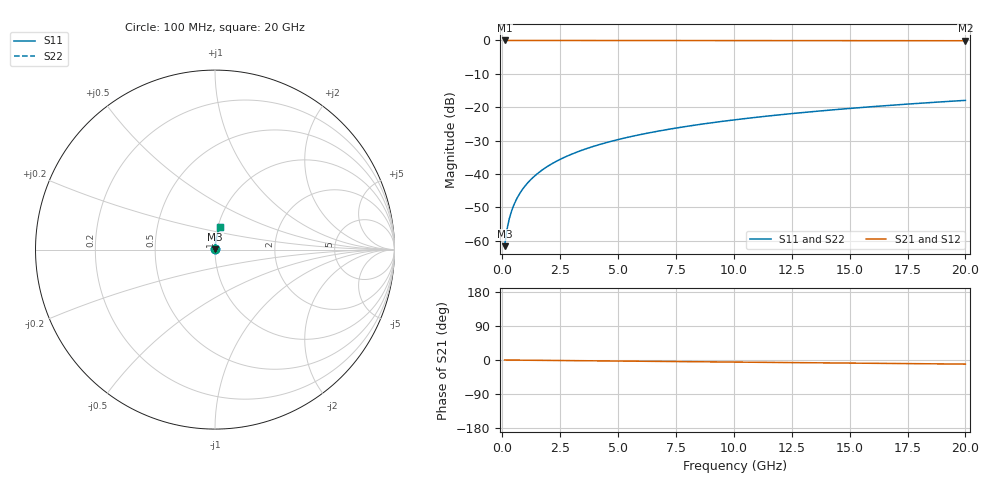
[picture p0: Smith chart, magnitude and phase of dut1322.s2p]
! Touchstone file exported from HFSS 2026.1.0
!  File:  C:/ffzhzh/LocalFiles/Ansys_Project_Files/temp_train_BSMRDL_1322_1783178532_43440.aedt
!  Generated:  11:23:20 PM Jul  4, 2026
!  Design:  BSMRDL
!  Project:  temp_train_BSMRDL_1322_1783178532_43440
! Variables:
!  h_bsmrdl = 5.57um
!  h_ox = 20um
!  h_rdl = 5um
!  h_sub = 80um
!  h_tmrdl = 5um
!  h_tsv = 80um
!  h_via = 3um
!  l_bsmrdl = 102.15um
!  l_sub = 502.15um
!  l_tmrdl = 200um
!  m_sub = 200um
!  pitch = 59.36um
!  r_tsv = 6um
!  s_tmrdl = 10um
!  w_bsmrdl = 21.05um
!  w_sub = 500um
!  w_tmrdl = 12um
!  x_tsv_center1 = 206um
!  x_tsv_center2 = 329.2um
!  x_tsv_center3 = 541.2um
!  x_tsv_center4 = 664.4um
!  x_tsv_center5 = 876.4um
!  x_tsv_center6 = 999.6um
# GHz S MA R 50.000000
! Terminal data exported
! Port[1] = BSM_RDL1_1_T1
! Port[2] = BSM_RDL1_1_T2
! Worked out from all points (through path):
!   200 points, 100 MHz to 20 GHz, reference 50 ohm
!   highest |S21| = 0.00 dB at 100 MHz (marker M1); lowest = -0.1 dB at 20 GHz (marker M2)
!   group delay of S21, straight-line fit = 1.5 ps
!   lowest |S11| = -61.7 dB at 100 MHz (marker M3), VSWR 1.00, Z = 50 + j0.0698 ohm
!   |S11| at or under -10 dB: start of sweep to end of sweep
!   |S22| runs from -61.7 to -18.0 dB; largest |S21 - S12| = 3.1e-15
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0.1  0.0008262 57.5  0.9996 -0.1  0.9996 -0.1  0.0008262 57.5
! Gamma 0 0 0 0
! Port Impedance 50 0 50 0
0.2  0.00146 71.3  0.9995 -0.1  0.9995 -0.1  0.00146 71.3
0.3  0.002117 76.5  0.9995 -0.2  0.9995 -0.2  0.002117 76.5
0.4  0.002774 79.1  0.9995 -0.2  0.9995 -0.2  0.002774 79.1
0.5  0.003429 80.8  0.9995 -0.3  0.9995 -0.3  0.003429 80.8
0.7  0.004738 82.8  0.9994 -0.4  0.9994 -0.4  0.004738 82.8
0.8  0.005393 83.4  0.9994 -0.4  0.9994 -0.4  0.005393 83.4
1  0.006704 84.3  0.9994 -0.6  0.9994 -0.6  0.006704 84.3
1.2  0.008017 84.9  0.9993 -0.7  0.9993 -0.7  0.008017 84.9
1.4  0.009331 85.3  0.9993 -0.8  0.9993 -0.8  0.009331 85.3
1.7  0.0113 85.6  0.9992 -0.9  0.9992 -0.9  0.0113 85.6
2  0.01327 85.8  0.9992 -1.1  0.9992 -1.1  0.01327 85.8
2.7  0.01784 85.9  0.999 -1.5  0.999 -1.5  0.01784 85.9
3.5  0.02304 85.7  0.9988 -1.9  0.9988 -1.9  0.02304 85.7
4.2  0.02756 85.5  0.9986 -2.3  0.9986 -2.3  0.02756 85.5
5  0.03271 85.2  0.9983 -2.8  0.9983 -2.8  0.03271 85.2
6.8  0.04419 84.4  0.9976 -3.7  0.9976 -3.7  0.04419 84.4
8.3  0.0537 83.8  0.997 -4.6  0.997 -4.6  0.0537 83.8
10.1  0.06507 82.9  0.9961 -5.5  0.9961 -5.5  0.06507 82.9
13.4  0.08576 81.4  0.9943 -7.3  0.9943 -7.3  0.08576 81.4
16.7  0.1063 79.7  0.9921 -9.1  0.9921 -9.1  0.1063 79.7
20  0.1265 78.0  0.9895 -10.8  0.9895 -10.8  0.1265 78.0
